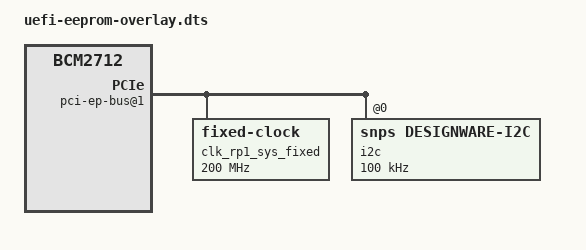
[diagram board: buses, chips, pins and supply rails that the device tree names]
/*
 * UEFI variable store EEPROM on RP1 I2C1 (Raspberry Pi 5 / BCM2712).
 *
 * U-Boot persists its non-volatile UEFI variables (BootOrder, Boot####,
 * BootNext, ...) as a single serialized blob (ubootefi.var format:
 * magic/length/CRC32) at offset 0 of a 24c256 EEPROM on the 40-pin header
 * i2c bus (CONFIG_EFI_VARIABLE_I2C_STORE). The "EEPROM" may be a real part
 * or an I2C slave emulated by the BMC, which can then read and rewrite the
 * boot options out-of-band.
 *
 * The bcm2712 device tree shipped in the Talos kernel OCI image (the base
 * DTB for this project) carries no i2c nodes under the RP1 pci-ep-bus, so
 * this overlay adds the Designware I2C1 controller (RP1 peripheral offset
 * 0x74000) with the EEPROM child. Nodes are added by absolute path because
 * the base DTB has no symbols/labels.
 *
 * The base DTB also has no label for the RP1 clock controller, so the
 * controller references a fixed-clock mirroring clk_sys (200 MHz, pinned by
 * assigned-clock-rates in the mainline rp1-common.dtsi); U-Boot's
 * Designware driver only uses it to derive SCL timings.
 *
 * The i2c1-pins group (GPIO2/3 funcsel a3 = i2c1_sda/i2c1_scl per the RP1
 * datasheet) uses numeric pins/function values parsed by U-Boot's rp1
 * pinctrl driver (drivers/gpio/rp1_gpio.c). Linux ignores this node: the
 * Talos kernel's dw-i2c will not bind without an interrupts property, and
 * the pin group intentionally targets only the U-Boot driver.
 */
/dts-v1/;
/plugin/;

/ {
	compatible = "brcm,bcm2712";

	fragment@0 {
		target-path = "/axi/pcie@1000120000/rp1_nexus/pci-ep-bus@1/pinctrl@400d0000";
		__overlay__ {
			rp1_i2c1_pins: i2c1-pins {
				pins = <2 3>;
				function = <3>;
				bias-pull-up;
			};
		};
	};

	fragment@1 {
		target-path = "/axi/pcie@1000120000/rp1_nexus/pci-ep-bus@1";
		__overlay__ {
			clk_rp1_sys_fixed: i2c1-refclk {
				compatible = "fixed-clock";
				#clock-cells = <0>;
				clock-frequency = <200000000>;
				clock-output-names = "rp1-clk-sys-fixed";
			};

			i2c@40074000 {
				compatible = "snps,designware-i2c";
				reg = <0x00 0x40074000  0x0 0x1000>;
				#address-cells = <1>;
				#size-cells = <0>;
				clocks = <&clk_rp1_sys_fixed>;
				clock-frequency = <100000>;
				pinctrl-names = "default";
				pinctrl-0 = <&rp1_i2c1_pins>;

				eeprom@50 {
					compatible = "atmel,24c256";
					reg = <0x50>;
					pagesize = <64>;
				};
			};
		};
	};
};
